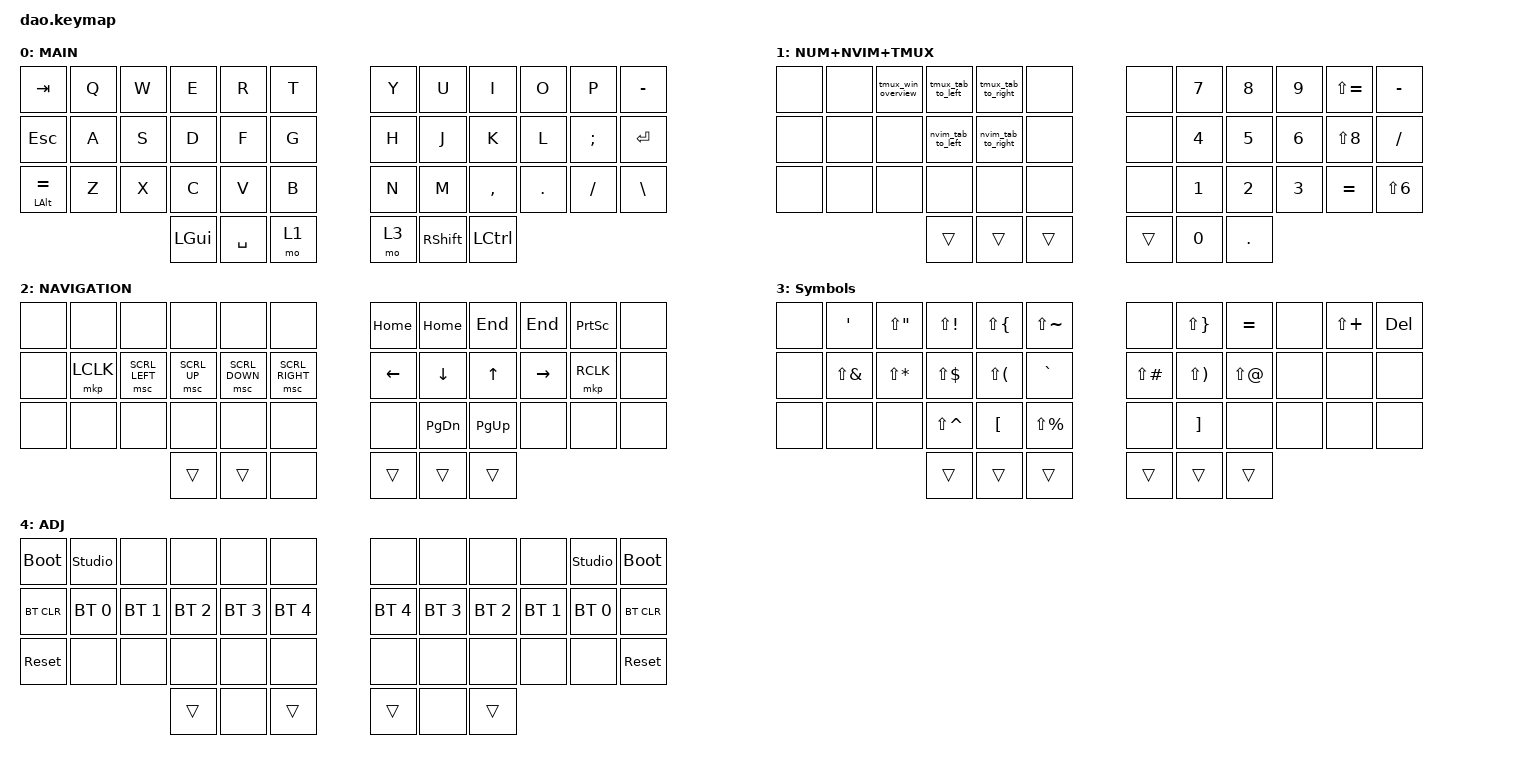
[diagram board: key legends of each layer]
/*
 * Copyright (c) 2021 Rafael Yumagulov
 *
 * SPDX-License-Identifier: MIT
 */

// Use the following visual key editor:
// https://nickcoutsos.github.io/keymap-editor/
// select clipboard and paste the whole file

#include <behaviors.dtsi>
#include <dt-bindings/zmk/bt.h>
#include <dt-bindings/zmk/keys.h>
#include <dt-bindings/zmk/pointing.h>

#define DEF 0
#define LWR 1
#define RSE 2
#define ADJ 3

&lt { quick_tap_ms = <200>; };

&mt { quick_tap_ms = <200>; };

/ {
    chosen {
        zmk,physical_layout = &dao_crkbd_layout;

        // zmk,physical_layout = &dao_full_layout;
    };
};

/ {
    combos {
        compatible = "zmk,combos";

        Backspace_Combo {
            bindings = <&kp BACKSPACE>;
            key-positions = <38 39>;
        };

        MO_NAV_LAYER {
            bindings = <&mo 2>;
            key-positions = <37 40>;
        };

        MO_ADJUST_LAYER {
            bindings = <&mo 4>;
            key-positions = <36 40>;
        };
    };

    macros {
        nvim_tab_to_left: nvim_tab_to_left {
            compatible = "zmk,behavior-macro";
            #binding-cells = <0>;
            bindings = <&kp ESC &kp G &kp LS(T)>;
            label = "NVIM_TAB_TO_LEFT";
        };

        nvim_tab_to_right: nvim_tab_to_right {
            compatible = "zmk,behavior-macro";
            #binding-cells = <0>;
            bindings = <&kp ESCAPE &kp G &kp T>;
            label = "NVIM_TAB_TO_RIGHT";
        };

        tmux_win_overview: tmux_win_overview {
            compatible = "zmk,behavior-macro";
            #binding-cells = <0>;
            bindings = <&kp LC(A) &kp W>;
            label = "TMUX_WIN_OVERVIEW";
        };

        tmux_tab_to_right: tmux_tab_to_right {
            compatible = "zmk,behavior-macro";
            #binding-cells = <0>;
            bindings = <&kp LC(A) &kp N>;
            label = "TMUX_TAB_TO_RIGHT";
        };

        tmux_tab_to_left: tmux_tab_to_left {
            compatible = "zmk,behavior-macro";
            #binding-cells = <0>;
            bindings = <&kp LC(A) &kp P>;
            label = "TMUX_TAB_TO_LEFT";
        };
    };

    keymap {
        compatible = "zmk,keymap";

        default_layer {
            display-name = "MAIN";
            bindings = <
&kp TAB         &kp Q  &kp W  &kp E         &kp R      &kp T  &kp Y  &kp U       &kp I             &kp O    &kp P     &kp MINUS
&kp ESCAPE      &kp A  &kp S  &kp D         &kp F      &kp G  &kp H  &kp J       &kp K             &kp L    &kp SEMI  &kp ENTER
&mt LALT EQUAL  &kp Z  &kp X  &kp C         &kp V      &kp B  &kp N  &kp M       &kp COMMA         &kp DOT  &kp FSLH  &kp BACKSLASH
                              &kp LEFT_GUI  &kp SPACE  &mo 1  &mo 3  &kp RSHIFT  &kp LEFT_CONTROL
            >;
        };

        NUM_NVIM_TMUX {
            display-name = "NUM+NVIM+TMUX";
            bindings = <
&none  &none  &tmux_win_overview  &tmux_tab_to_left  &tmux_tab_to_right  &none   &none   &kp N7        &kp N8   &kp N9  &kp LS(EQUAL)  &kp MINUS
&none  &none  &none               &nvim_tab_to_left  &nvim_tab_to_right  &none   &none   &kp N4        &kp N5   &kp N6  &kp LS(N8)     &kp FSLH
&none  &none  &none               &none              &none               &none   &none   &kp NUMBER_1  &kp N2   &kp N3  &kp EQUAL      &kp LS(NUMBER_6)
                                  &trans             &trans              &trans  &trans  &kp N0        &kp DOT
            >;
        };

        NAVIGATION_LAYER {
            display-name = "NAVIGATION";
            bindings = <
&none  &none      &none           &none         &none           &none            &kp HOME  &kp HOME       &kp END      &kp END    &kp PRINTSCREEN  &none
&none  &mkp LCLK  &msc SCRL_LEFT  &msc SCRL_UP  &msc SCRL_DOWN  &msc SCRL_RIGHT  &kp LEFT  &kp DOWN       &kp UP       &kp RIGHT  &mkp RCLK        &none
&none  &none      &none           &none         &none           &none            &none     &kp PAGE_DOWN  &kp PAGE_UP  &none      &none            &none
                                  &trans        &trans          &none            &trans    &trans         &trans
            >;
        };

        SYMBOL_LAYER {
            bindings = <
&none  &kp SQT       &kp LS(DQT)   &kp LS(EXCL)   &kp LS(LBRC)  &kp LS(TILDE)  &none          &kp LS(RBRC)  &kp EQUAL   &none  &kp LS(PLUS)  &kp DELETE
&none  &kp LS(AMPS)  &kp LS(STAR)  &kp LS(DLLR)   &kp LS(LPAR)  &kp GRAVE  &kp LS(POUND)  &kp LS(RPAR)  &kp LS(AT)  &none  &none         &none
&none  &none         &none         &kp LS(CARET)  &kp LBKT      &kp LS(PRCNT)  &none          &kp RBKT      &none       &none  &none         &none
                                   &trans         &trans        &trans         &trans         &trans        &trans
            >;

            label = "Symbols";
        };

        adjust_layer {
            display-name = "ADJ";
            bindings = <
&bootloader  &studio_unlock  &none         &none         &none         &none         &none         &none         &none         &none         &studio_unlock  &bootloader
&bt BT_CLR   &bt BT_SEL 0    &bt BT_SEL 1  &bt BT_SEL 2  &bt BT_SEL 3  &bt BT_SEL 4  &bt BT_SEL 4  &bt BT_SEL 3  &bt BT_SEL 2  &bt BT_SEL 1  &bt BT_SEL 0    &bt BT_CLR
&sys_reset   &none           &none         &none         &none         &none         &none         &none         &none         &none         &none           &sys_reset
                                           &trans        &none         &trans        &trans        &none         &trans
            >;
        };
    };
};
